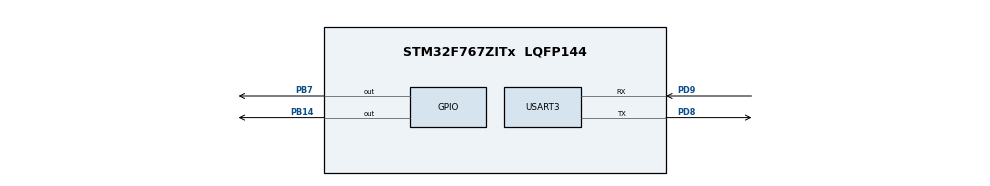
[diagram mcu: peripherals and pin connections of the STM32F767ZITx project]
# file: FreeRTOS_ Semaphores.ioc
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CORTEX_M7.default_mode_Activation=1
FREERTOS.Tasks01=defaultTask,0,128,StartDefaultTask,Default,NULL,Dynamic,NULL,NULL
Mcu.Family=STM32F7
Mcu.Name=STM32F767ZITx
Mcu.Package=LQFP144
NVIC.PriorityGroup=NVIC_PRIORITYGROUP_4
NVIC.USART3_IRQn=true\:5\:0\:false\:false\:true\:true\:true\:true\:true
PB14.Signal=GPIO_Output
PB7.Signal=GPIO_Output
PD8.Mode=Asynchronous
PD8.Signal=USART3_TX
PD9.Mode=Asynchronous
PD9.Signal=USART3_RX
PH0/OSC_IN.Mode=HSE-External-Oscillator
PH0/OSC_IN.Signal=RCC_OSC_IN
PH1/OSC_OUT.Mode=HSE-External-Oscillator
PH1/OSC_OUT.Signal=RCC_OSC_OUT
ProjectManager.HeapSize=0x200
ProjectManager.StackSize=0x400
ProjectManager.TargetToolchain=STM32CubeIDE
RCC.HSE_VALUE=25000000
RCC.HSI_VALUE=16000000
RCC.LSE_VALUE=32768
RCC.USBFreq_Value=96000000
RCC.VCOOutputFreq_Value=192000000
USART3.VirtualMode-Asynchronous=VM_ASYNC
VP_FREERTOS_VS_CMSIS_V1.Mode=CMSIS_V1
board=custom

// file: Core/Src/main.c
/* USER CODE BEGIN Header */
/**
  ******************************************************************************
  * @file           : main.c
  * @brief          : Main program body
  ******************************************************************************
  * @attention
  *
  * Copyright (c) 2025 STMicroelectronics.
  * All rights reserved.
  *
  * This software is licensed under terms that can be found in the LICENSE file
  * in the root directory of this software component.
  * If no LICENSE file comes with this software, it is provided AS-IS.
  *
  ******************************************************************************
  */
/* USER CODE END Header */
#include "main.h"

/* USER CODE BEGIN Includes */

#include "FreeRTOS.h"
#include "task.h"
#include "timers.h"
#include "queue.h"
#include "semphr.h"
#include "event_groups.h"

#include <string.h>
/* USER CODE END Includes */

UART_HandleTypeDef huart3;

void SystemClock_Config(void);
static void MX_GPIO_Init(void);
static void MX_USART3_UART_Init(void);

/* USER CODE BEGIN 0 */
uint8_t rxBuffer[8], rData;
uint8_t pos= 0;

SemaphoreHandle_t xSemaphore;

void HAL_UART_RxCpltCallback(UART_HandleTypeDef *huart)
{
	BaseType_t xOState;

	if (huart->Instance == USART3){
		HAL_UART_Receive_IT(&huart3,&rData,1);
		BaseType_t xHigherPriorityTaskWoken =pdFALSE;

		rxBuffer[pos++] = rData;

		if(rData=='\n'){
			pos=0;
			xHigherPriorityTaskWoken=pdTRUE;
			xOState=xSemaphoreGiveFromISR(xSemaphore,&xHigherPriorityTaskWoken);

			if(xOState != pdFAIL){
				portEND_SWITCHING_ISR(xHigherPriorityTaskWoken);
			}
		}

	}
}
void vGetSemaphore(void*pvParameters)
{
	while(1)
	{
      xSemaphoreTake(xSemaphore,portMAX_DELAY);

      if (strstr(rxBuffer, "OK") != NULL)
      {
          HAL_GPIO_WritePin(GPIOB, GPIO_PIN_14, 1);
      }
      else
      {
          HAL_GPIO_WritePin(GPIOB, GPIO_PIN_14, 0);
      }

	}
}
/* USER CODE END 0 */

int main(void)
{

  /* MPU Configuration--------------------------------------------------------*/

  /* MCU Configuration--------------------------------------------------------*/

  /* Reset of all peripherals, Initializes the Flash interface and the Systick. */
  HAL_Init();

  /* Configure the system clock */
  SystemClock_Config();

  /* Initialize all configured peripherals */
  MX_GPIO_Init();
  MX_USART3_UART_Init();
  /* USER CODE BEGIN 2 */
    HAL_UART_Receive_IT(&huart3, &rData, 1);

   xSemaphore = xSemaphoreCreateBinary();

   xTaskCreate(vGetSemaphore,"get",1000,NULL,0,NULL);

   vTaskStartScheduler();

  /* USER CODE END 2 */

  /* Create the thread(s) */
  /* definition and creation of defaultTask */

  /* Start scheduler */

  /* We should never get here as control is now taken by the scheduler */

  /* Infinite loop */
  while (1)
  {

  }
}

void SystemClock_Config(void)
{
  RCC_OscInitTypeDef RCC_OscInitStruct = {0};
  RCC_ClkInitTypeDef RCC_ClkInitStruct = {0};

  /** Configure the main internal regulator output voltage
  */
  __HAL_RCC_PWR_CLK_ENABLE();
  __HAL_PWR_VOLTAGESCALING_CONFIG(PWR_REGULATOR_VOLTAGE_SCALE3);

  /** Initializes the RCC Oscillators according to the specified parameters
  * in the RCC_OscInitTypeDef structure.
  */
  RCC_OscInitStruct.OscillatorType = RCC_OSCILLATORTYPE_HSI;
  RCC_OscInitStruct.HSIState = RCC_HSI_ON;
  RCC_OscInitStruct.HSICalibrationValue = RCC_HSICALIBRATION_DEFAULT;
  RCC_OscInitStruct.PLL.PLLState = RCC_PLL_NONE;
  if (HAL_RCC_OscConfig(&RCC_OscInitStruct) != HAL_OK)
  {
    Error_Handler();
  }

  /** Initializes the CPU, AHB and APB buses clocks
  */
  RCC_ClkInitStruct.ClockType = RCC_CLOCKTYPE_HCLK|RCC_CLOCKTYPE_SYSCLK
                              |RCC_CLOCKTYPE_PCLK1|RCC_CLOCKTYPE_PCLK2;
  RCC_ClkInitStruct.SYSCLKSource = RCC_SYSCLKSOURCE_HSI;
  RCC_ClkInitStruct.AHBCLKDivider = RCC_SYSCLK_DIV1;
  RCC_ClkInitStruct.APB1CLKDivider = RCC_HCLK_DIV1;
  RCC_ClkInitStruct.APB2CLKDivider = RCC_HCLK_DIV1;

  if (HAL_RCC_ClockConfig(&RCC_ClkInitStruct, FLASH_LATENCY_0) != HAL_OK)
  {
    Error_Handler();
  }
}

static void MX_USART3_UART_Init(void)
{

  huart3.Instance = USART3;
  huart3.Init.BaudRate = 115200;
  huart3.Init.WordLength = UART_WORDLENGTH_8B;
  huart3.Init.StopBits = UART_STOPBITS_1;
  huart3.Init.Parity = UART_PARITY_NONE;
  huart3.Init.Mode = UART_MODE_TX_RX;
  huart3.Init.HwFlowCtl = UART_HWCONTROL_NONE;
  huart3.Init.OverSampling = UART_OVERSAMPLING_16;
  huart3.Init.OneBitSampling = UART_ONE_BIT_SAMPLE_DISABLE;
  huart3.AdvancedInit.AdvFeatureInit = UART_ADVFEATURE_NO_INIT;
  if (HAL_UART_Init(&huart3) != HAL_OK)
  {
    Error_Handler();
  }

}

static void MX_GPIO_Init(void)
{
  GPIO_InitTypeDef GPIO_InitStruct = {0};

  /* GPIO Ports Clock Enable */
  __HAL_RCC_GPIOH_CLK_ENABLE();
  __HAL_RCC_GPIOB_CLK_ENABLE();
  __HAL_RCC_GPIOD_CLK_ENABLE();

  /*Configure GPIO pin Output Level */
  HAL_GPIO_WritePin(GPIOB, GPIO_PIN_14|GPIO_PIN_7, GPIO_PIN_RESET);

  /*Configure GPIO pins : PB14 PB7 */
  GPIO_InitStruct.Pin = GPIO_PIN_14|GPIO_PIN_7;
  GPIO_InitStruct.Mode = GPIO_MODE_OUTPUT_PP;
  GPIO_InitStruct.Pull = GPIO_NOPULL;
  GPIO_InitStruct.Speed = GPIO_SPEED_FREQ_LOW;
  HAL_GPIO_Init(GPIOB, &GPIO_InitStruct);

}

void StartDefaultTask(void const * argument)
{
  for(;;)
  {
  }
}

 /* MPU Configuration */

void MPU_Config(void)
{
  MPU_Region_InitTypeDef MPU_InitStruct = {0};

  /* Disables the MPU */
  HAL_MPU_Disable();

  /** Initializes and configures the Region and the memory to be protected
  */
  MPU_InitStruct.Enable = MPU_REGION_ENABLE;
  MPU_InitStruct.Number = MPU_REGION_NUMBER0;
  MPU_InitStruct.BaseAddress = 0x0;
  MPU_InitStruct.Size = MPU_REGION_SIZE_4GB;
  MPU_InitStruct.SubRegionDisable = 0x87;
  MPU_InitStruct.TypeExtField = MPU_TEX_LEVEL0;
  MPU_InitStruct.AccessPermission = MPU_REGION_NO_ACCESS;
  MPU_InitStruct.DisableExec = MPU_INSTRUCTION_ACCESS_DISABLE;
  MPU_InitStruct.IsShareable = MPU_ACCESS_SHAREABLE;
  MPU_InitStruct.IsCacheable = MPU_ACCESS_NOT_CACHEABLE;
  MPU_InitStruct.IsBufferable = MPU_ACCESS_NOT_BUFFERABLE;

  HAL_MPU_ConfigRegion(&MPU_InitStruct);
  /* Enables the MPU */
  HAL_MPU_Enable(MPU_PRIVILEGED_DEFAULT);

}

void Error_Handler(void)
{
  __disable_irq();
  while (1)
  {
  }
}
